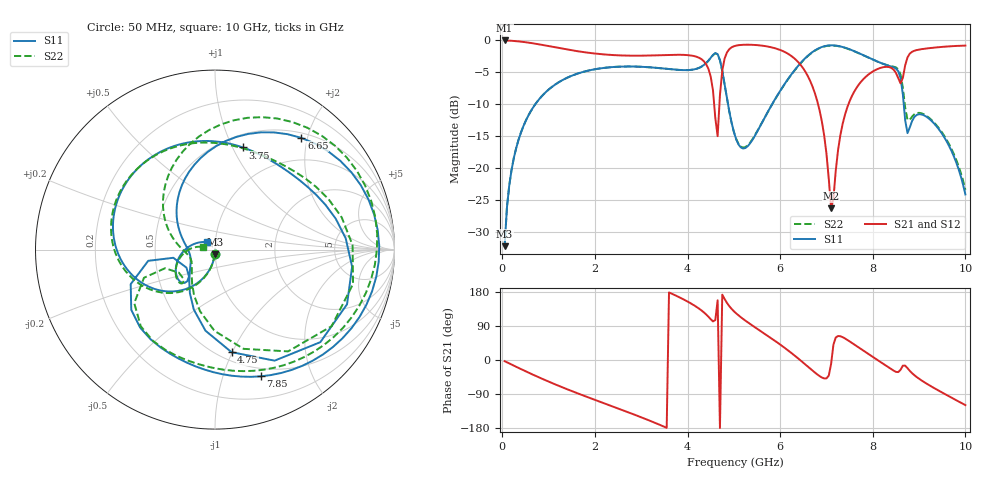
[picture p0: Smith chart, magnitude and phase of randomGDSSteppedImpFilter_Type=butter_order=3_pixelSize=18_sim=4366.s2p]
! freq	dB(S11)	phase(S11)	dB(S12)	phase(S12)
!  dB(S21)	phase(S21)	dB(S22)	phase(S22)
!S-par simulation data
#  GHz  S  DB  R 50
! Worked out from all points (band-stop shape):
!   200 points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, 50 MHz to 10 GHz, reference 50 ohm
!   highest |S21| = -0.01 dB at 50 MHz (marker M1); lowest = -26.3 dB at 7.1 GHz (marker M2)
!   |S21| within 3 dB of the highest: start of sweep to 4.312 GHz; 4.796 GHz to 6.336 GHz (1.54 GHz wide, 27.7 % of centre) (the widest 2 of 3)
!   lowest |S11| = -32.2 dB at 50 MHz (marker M3), VSWR 1.05, Z = 49.8 - j2.44 ohm
!   |S11| at or under -10 dB: start of sweep to 712.5 MHz; 4.874 GHz to 5.826 GHz (951.4 MHz wide, 17.8 % of centre); 8.669 GHz to end of sweep
!   |S22| runs from -32.2 to -0.8 dB; largest |S21 - S12| = 0
!   S11 on the Smith chart (normalised r, x): 50 MHz: 1.00, -0.05; 3.75 GHz: 0.63, +1.10; 4.75 GHz: 0.58, -0.99; 6.65 GHz: 0.58, +1.90; 7.85 GHz: 0.41, -1.34; 10 GHz: 0.91, +0.08
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0.05  -32.22 -92.9  -0.01 -3.0  -0.01 -3.0  -32.21 -93.0
0.2  -20.27 -102.7  -0.06 -12.0  -0.06 -12.0  -20.27 -102.2
0.5  -12.69 -120.7  -0.28 -29.5  -0.28 -29.5  -12.69 -119.4
1.75  -4.92 173.5  -1.83 -93.7  -1.83 -93.7  -4.92 177.9
3.4  -4.34 94.1  -2.32 -171.0  -2.32 -171.0  -4.34 103.3
3.75  -4.58 74.6  -2.25 169.8  -2.25 169.8  -4.58 84.6
4.55  -2.27 -7.1  -7.85 101.9  -7.85 101.9  -2.30 1.8
4.65  -2.14 -41.3  -15.00 157.5  -15.00 157.5  -2.19 -33.3
4.75  -4.75 -80.8  -4.74 172.4  -4.74 172.4  -4.80 -74.0
5.05  -15.48 -144.8  -0.81 123.0  -0.81 123.0  -15.41 -139.5
5.5  -14.34 161.2  -0.74 82.8  -0.74 82.8  -14.28 176.3
6  -7.90 117.3  -1.49 40.9  -1.49 40.9  -7.93 136.2
6.65  -2.08 52.3  -6.37 -22.8  -6.37 -22.8  -2.12 70.5
6.7  -1.81 46.7  -7.25 -28.0  -7.25 -28.0  -1.85 64.7
7.1  -0.77 1.3  -26.27 -10.3  -26.27 -10.3  -0.80 17.2
7.4  -1.14 -30.0  -11.63 56.9  -11.63 56.9  -1.17 -16.1
7.85  -2.49 -70.2  -5.69 20.1  -5.69 20.1  -2.51 -59.4
8.35  -3.99 -113.3  -4.17 -20.0  -4.17 -20.0  -3.94 -104.6
8.65  -8.47 -170.5  -5.85 -15.0  -5.85 -15.0  -7.42 -158.4
8.75  -14.52 -147.7  -2.65 -21.5  -2.65 -21.5  -12.44 -147.5
9.25  -12.47 -156.0  -1.19 -68.8  -1.19 -68.8  -12.33 -154.3
10  -24.11 138.1  -0.81 -119.1  -0.81 -119.1  -23.38 168.0
